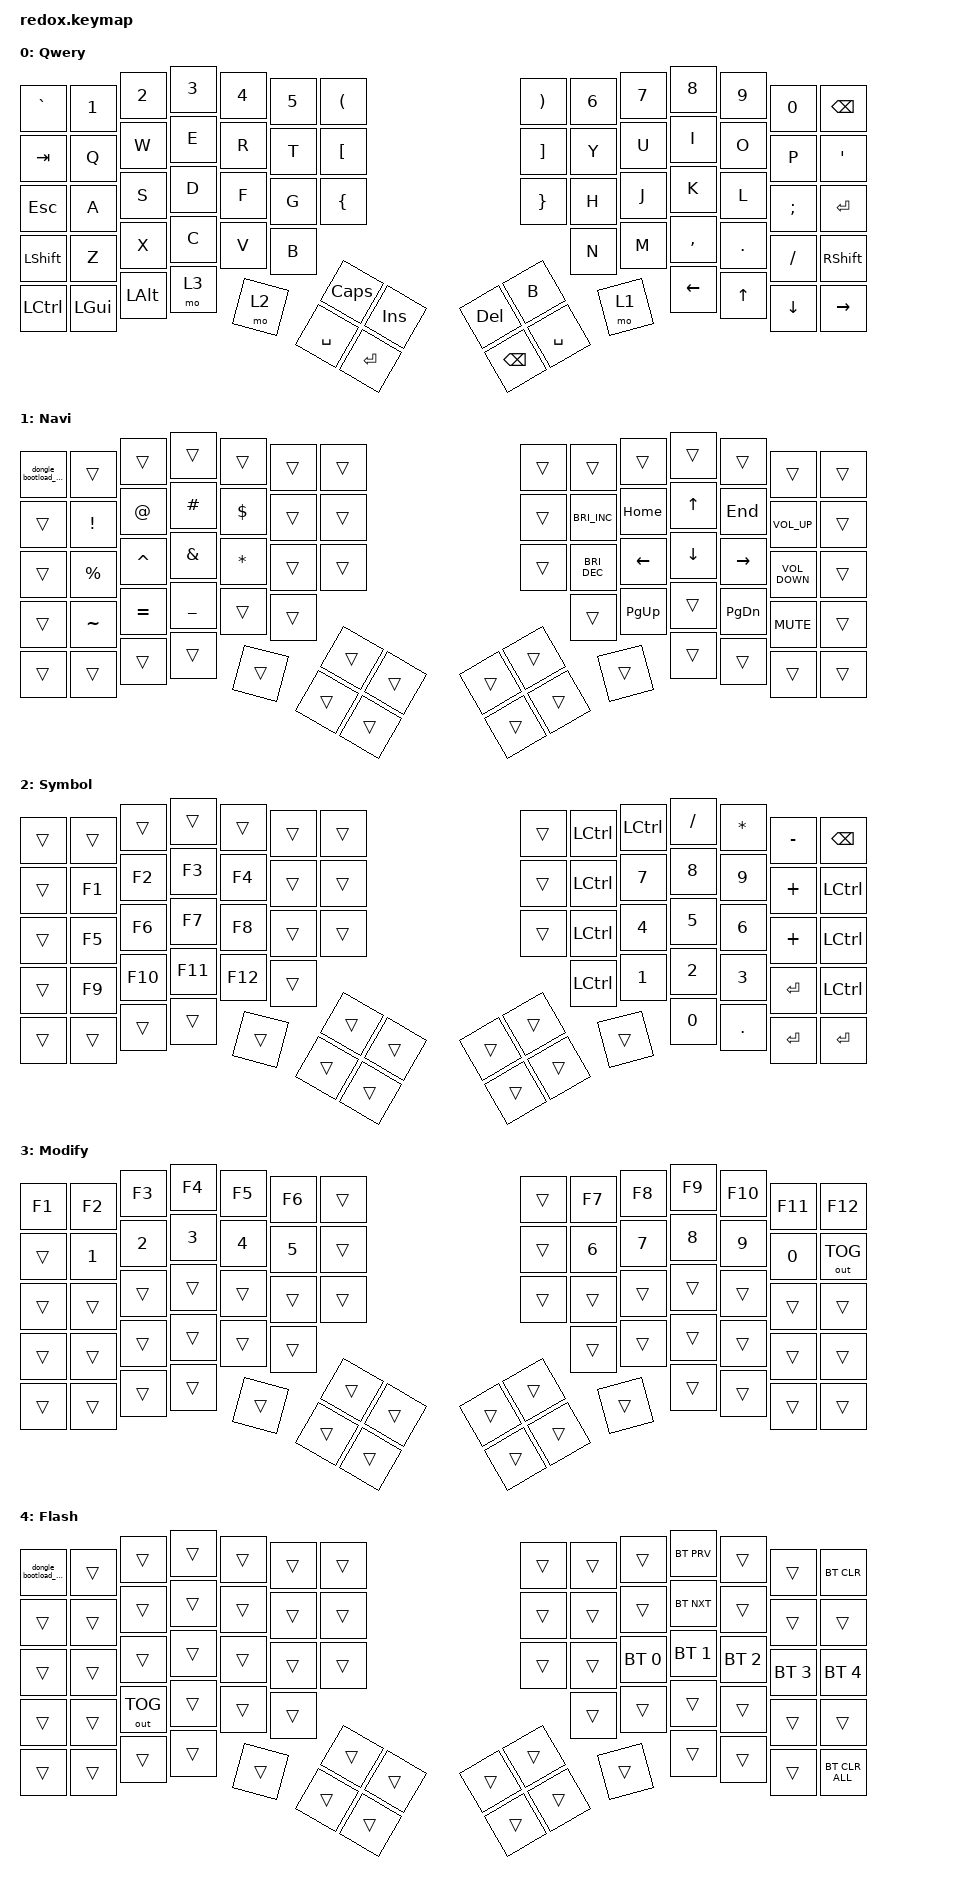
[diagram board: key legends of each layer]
/*
 * Copyright (c) 2021 The ZMK Contributors
 *
 * SPDX-License-Identifier: MIT
 */

#include <input/processors.dtsi>
#include <dt-bindings/zmk/mouse.h>
#include <behaviors.dtsi>
#include <dt-bindings/zmk/bt.h>
#include <dt-bindings/zmk/keys.h>
#include <dt-bindings/zmk/outputs.h>

/ {
    macros {
        dongle_bootload_macro: bootload_macro {
            compatible = "zmk,behavior-macro";
            #binding-cells = <0>;
            bindings = <&bootloader>;
            label = "BOOTLOAD_MACRO";
        };
    };

    behaviors {
        hm: homerow_mods {
            compatible = "zmk,behavior-hold-tap";
            label = "HOMEROW_MODS";
            bindings = <&kp>, <&kp>;

            #binding-cells = <2>;
            tapping-term-ms = <200>;
            quick-tap-ms = <180>;
            flavor = "tap-preferred";
        };

        ltq: ltq {
            compatible = "zmk,behavior-hold-tap";
            label = "LTQ";
            bindings = <&mo>, <&kp>;

            #binding-cells = <2>;
            tapping-term-ms = <200>;
            quick-tap-ms = <180>;
        };

        as: auto_shift {
            compatible = "zmk,behavior-hold-tap";
            label = "AUTO_SHIFT";
            bindings = <&kp>, <&kp>;

            #binding-cells = <2>;
            tapping-term-ms = <135>;
            quick-tap-ms = <0>;
        };
    };

    keymap {
        compatible = "zmk,keymap";

        Qwery {
            // --------------------------------------------------------------------------------------------------------------------------------
            // | ESC   |  1  |  2  |   3   |  4  |  5  |                   ---                |  6    |  7    |  8    |  9   | 0  |    BKSP   |
            // | TAB   |  Q  |  W  |   E   |  R  |  T  |   (   |           ---        |  )    |  Y    |  U    |  I    |  O   | P  |     -     |
            // | CTRL  |  A  |  S  |   D   |  F  |  G  |   [   |           ---        |  ]    |  H    |  J    |  K    |  L   | ;  |     '     |
            // | SHIFT |  Z  |  X  |   C   |  V  |  B  | PG_UP | PG_DOWN | --- | HOME | END   |  N    |  M    |  ,    |  .   | /  | SHFT(RET) |
            // | CRTL  | ALT | GUI | LOWER |    GUI    | LOWER | SPACE   | --- | DEL  | SPACE |     RAISE     | LEFT  | DOWN | UP |   RIGHT   |

            bindings = <
&kp GRAVE         &kp N1    &kp N2    &kp N3  &kp N4  &kp N5  &kp LEFT_PARENTHESIS                         &kp RIGHT_PARENTHESIS  &kp N6         &kp N7  &kp N8          &kp N9        &kp N0          &kp BSPC
&kp TAB           &kp Q     &kp W     &kp E   &kp R   &kp T   &kp LEFT_BRACKET                             &kp RIGHT_BRACKET      &kp Y          &kp U   &kp I           &kp O         &kp P           &kp SQT
&kp ESC           &kp A     &kp S     &kp D   &kp F   &kp G   &kp LEFT_BRACE                               &kp RIGHT_BRACE        &kp H          &kp J   &kp K           &kp L         &kp SEMICOLON   &kp ENTER
&kp LEFT_SHIFT    &kp Z     &kp X     &kp C   &kp V   &kp B   &kp CAPS              &kp INS    &kp DELETE  &kp B                  &kp N          &kp M   &kp COMMA       &kp PERIOD    &kp SLASH       &kp RIGHT_SHIFT
&kp LEFT_CONTROL  &kp LGUI  &kp LALT  &mo 3           &mo 2   &kp SPACE             &kp ENTER  &kp BSPC    &kp SPACE                      &mo 1          &kp LEFT_ARROW  &kp UP_ARROW  &kp DOWN_ARROW  &kp RIGHT_ARROW
            >;

            label = "Qwery";
        };

        Navi {
            // --------------------------------------------------------------------------------------------------------------------------
            // | ESC   |  1  |  2  |   3   |   4   |  5  |                   ---              |  6  |  7  |   8  |  9   |  0  |  DEL  |
            // | ESC   |  1  |  2  |   3   |   4   |  5  |   (   |           ---        |  )  |  6  |  7  |   8  |  9   |  0  |  DEL  |
            // | CTRL  |  -  |  =  |   [   |   ]   |  \  |   [   |           ---        |  ]  |  *  |  4  |   5  |  6   |  +  |   -   |
            // | SHIFT | ESC | GUI | COPY  | PASTE |     | PG_UP | PG_DOWN | --- | HOME | END |  \  |  1  |   2  |  3   | RET |  RET  |
            // | CRTL  | ALT | GUI | LOWER |     GUI     | LOWER | SPACE   | --- | DEL  |  0  |    RAISE  | LEFT | DOWN | UP  | RIGHT |

            bindings = <
&dongle_bootload_macro  &trans     &trans     &trans          &trans    &trans  &trans                  &trans  &trans                        &trans          &trans          &trans           &trans             &trans
&trans                  &kp EXCL   &kp AT     &kp HASH        &kp DLLR  &trans  &trans                  &trans  &kp C_BRIGHTNESS_INC          &kp HOME        &kp UP_ARROW    &kp END          &kp C_VOLUME_UP    &trans
&trans                  &kp PRCNT  &kp CARET  &kp AMPS        &kp STAR  &trans  &trans                  &trans  &kp C_BRIGHTNESS_DEC          &kp LEFT_ARROW  &kp DOWN_ARROW  &kp RIGHT_ARROW  &kp C_VOLUME_DOWN  &trans
&trans                  &kp TILDE  &kp EQUAL  &kp UNDERSCORE  &trans    &trans  &trans  &trans  &trans  &trans  &trans                        &kp PAGE_UP     &trans          &kp PAGE_DOWN    &kp C_MUTE         &trans
&trans                  &trans     &trans     &trans                    &trans  &trans  &trans  &trans  &trans                        &trans                  &trans          &trans           &trans             &trans
            >;

            label = "Navi";
        };

        Symbol {
            // ----------------------------------------------------------------------------------------------------------------------------
            // | ESC   |  1  |  2  |   3   |  4  |  5  |                   ---                |  6   |  7   |  8   |  9   |  0    |  DEL  |
            // | ESC   |  !  |  @  |   #   |  $  |  %  |   (   |           ---        |  )    |  ^   |  &   |  *   |  (   |  )    |  DEL  |
            // | CTRL  |  _  |  +  |   {   |  }  | "|" |   [   |           ---        |  ]    | HOME | PGUP | PRSC | UP   |  `    |   ~   |
            // | SHIFT | ESC | GUI |   (   |  )  |     | PG_UP | PG_DOWN | --- | HOME | END   | END  | PGDN | LEFT | DOWN | RIGHT |  RET  |
            // | CRTL  | ALT | GUI | LOWER |    GUI    | LOWER | SPACE   | --- | DEL  | SPACE |    RAISE    | LEFT | DOWN | UP    | RIGHT |

            bindings = <
&trans  &trans  &trans   &trans   &trans   &trans  &trans                  &trans  &kp LCTRL          &kp LCTRL  &kp SLASH  &kp STAR  &kp MINUS  &kp BACKSPACE
&trans  &kp F1  &kp F2   &kp F3   &kp F4   &trans  &trans                  &trans  &kp LCTRL          &kp N7     &kp N8     &kp N9    &kp PLUS   &kp LCTRL
&trans  &kp F5  &kp F6   &kp F7   &kp F8   &trans  &trans                  &trans  &kp LCTRL          &kp N4     &kp N5     &kp N6    &kp PLUS   &kp LCTRL
&trans  &kp F9  &kp F10  &kp F11  &kp F12  &trans  &trans  &trans  &trans  &trans  &kp LCTRL          &kp N1     &kp N2     &kp N3    &kp ENTER  &kp LCTRL
&trans  &trans  &trans   &trans            &trans  &trans  &trans  &trans  &trans             &trans             &kp N0     &kp DOT   &kp ENTER  &kp ENTER
            >;

            label = "Symbol";
        };

        Modify {
            // -----------------------------------------------------------------------------------------
            // |  F1   |  F2   |    F3    |    F4     |     F5     | F6 |                   ---                | F7  | F8  |  F9  |  F10 | F11 | F12        |
            // | TAB   |       |          |           |            |    | BOOTL |           ---        |  )    | BT1 | BT2 |  BT3 |  BT4 | BT5 | OUTPUT TGL |
            // | CTRL  | MUTE  |  Vol Dn  |  Vol Up   | Play/Pause |    | RESET |           ---        |  ]    | F1  | F2  |  F3  |  F4  | F5  | F6         |
            // | SHIFT | PSCRN |  PSCRN   |   CAPS    |            |    | PG_UP | PG_DOWN | --- | HOME | END   | F7  | F8  |  F9  |  F10 | F11 | F12        |
            // | CRTL  | ALT   |  GUI     |   LOWER   |      GUI        | LOWER | SPACE   | --- | DEL  | SPACE |   RAISE   | LEFT | DOWN | UP  |   RIGHT    |

            bindings = <
&kp F1  &kp F2  &kp F3  &kp F4  &kp F5  &kp F6  &trans                  &trans  &kp F7          &kp F8  &kp F9  &kp F10       &kp F11  &kp F12
&trans  &kp N1  &kp N2  &kp N3  &kp N4  &kp N5  &trans                  &trans  &kp N6          &kp N7  &kp N8  &kp NUMBER_9  &kp N0   &out OUT_TOG
&trans  &trans  &trans  &trans  &trans  &trans  &trans                  &trans  &trans          &trans  &trans  &trans        &trans   &trans
&trans  &trans  &trans  &trans  &trans  &trans  &trans  &trans  &trans  &trans  &trans          &trans  &trans  &trans        &trans   &trans
&trans  &trans  &trans  &trans          &trans  &trans  &trans  &trans  &trans          &trans          &trans  &trans        &trans   &trans
            >;

            label = "Modify";
        };

        Flash {
            bindings = <
&dongle_bootload_macro  &trans  &trans        &trans  &trans  &trans  &trans                  &trans  &trans          &trans        &bt BT_PRV    &trans        &trans        &bt BT_CLR
&trans                  &trans  &trans        &trans  &trans  &trans  &trans                  &trans  &trans          &trans        &bt BT_NXT    &trans        &trans        &trans
&trans                  &trans  &trans        &trans  &trans  &trans  &trans                  &trans  &trans          &bt BT_SEL 0  &bt BT_SEL 1  &bt BT_SEL 2  &bt BT_SEL 3  &bt BT_SEL 4
&trans                  &trans  &out OUT_TOG  &trans  &trans  &trans  &trans  &trans  &trans  &trans  &trans          &trans        &trans        &trans        &trans        &trans
&trans                  &trans  &trans        &trans          &trans  &trans  &trans  &trans  &trans          &trans                &trans        &trans        &trans        &bt BT_CLR_ALL
            >;

            label = "Flash";
        };
    };

    conditional_layers { compatible = "zmk,conditional-layers"; };
};
